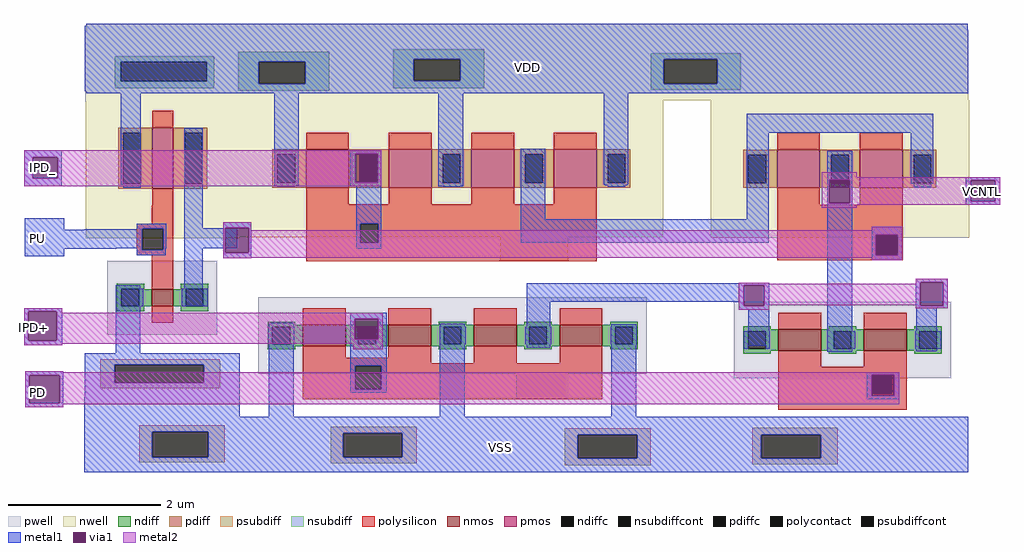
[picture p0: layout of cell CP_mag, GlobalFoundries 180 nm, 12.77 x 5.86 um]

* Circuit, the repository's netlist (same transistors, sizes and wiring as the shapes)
* NGSPICE file created from CP_mag.ext - technology: gf180mcuC

.subckt nmos_3p3_GYTGVN a_n260_n36# a_168_n28# a_56_n72# a_n168_n72# a_n56_n28# VSUBS
X0 a_n56_n28# a_n168_n72# a_n260_n36# VSUBS nfet_03v3 ad=92.8f pd=0.92u as=0.158p ps=1.64u w=0.28u l=0.56u
X1 a_168_n28# a_56_n72# a_n56_n28# VSUBS nfet_03v3 ad=0.158p pd=1.64u as=92.8f ps=0.92u w=0.28u l=0.56u
.ends

.subckt pmos_3p3_HVHFD7 a_n52_n50# w_n338_n180# a_52_n94# a_164_n50# a_n252_n50# a_n164_n94#
X0 a_164_n50# a_52_n94# a_n52_n50# w_n338_n180# pfet_03v3 ad=0.22p pd=1.88u as=0.13p ps=1.02u w=0.5u l=0.56u
X1 a_n52_n50# a_n164_n94# a_n252_n50# w_n338_n180# pfet_03v3 ad=0.13p pd=1.02u as=0.22p ps=1.88u w=0.5u l=0.56u
.ends

.subckt pmos_3p3_MQGBLR a_n28_n124# a_n116_n80# a_28_n80# w_n202_n210#
X0 a_28_n80# a_n28_n124# a_n116_n80# w_n202_n210# pfet_03v3 ad=0.352p pd=2.48u as=0.352p ps=2.48u w=0.8u l=0.28u
.ends

.subckt nmos_3p3_DDNVWA a_n120_n36# a_28_n22# a_n28_n66# VSUBS
X0 a_28_n22# a_n28_n66# a_n120_n36# VSUBS nfet_03v3 ad=0.152p pd=1.64u as=0.152p ps=1.64u w=0.22u l=0.28u
.ends

.subckt inv VDD VSS IN OUT
Xpmos_3p3_MQGBLR_0 IN VDD OUT VDD pmos_3p3_MQGBLR
Xnmos_3p3_DDNVWA_0 VSS OUT IN VSS nmos_3p3_DDNVWA
.ends

.subckt CP_mag VDD VSS VCNTL PU PD IPD_ IPD+
Xnmos_3p3_GYTGVN_0 m1_1391_990# m1_1391_990# PD PD VCNTL VSS nmos_3p3_GYTGVN
Xnmos_3p3_GYTGVN_1 VSS VSS IPD+ IPD+ IPD+ VSS nmos_3p3_GYTGVN
Xnmos_3p3_GYTGVN_2 VSS VSS IPD+ IPD+ m1_1391_990# VSS nmos_3p3_GYTGVN
Xpmos_3p3_HVHFD7_0 m1_1376_1265# VDD IPD_ VDD VDD IPD_ pmos_3p3_HVHFD7
Xpmos_3p3_HVHFD7_1 VCNTL VDD inv_0/OUT m1_1376_1265# m1_1376_1265# inv_0/OUT pmos_3p3_HVHFD7
Xpmos_3p3_HVHFD7_2 IPD_ VDD IPD_ VDD VDD IPD_ pmos_3p3_HVHFD7
Xinv_0 VDD VSS PU inv_0/OUT inv
.ends

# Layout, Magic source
magic
tech gf180mcuC
magscale 1 10
<< nwell >>
rect 239 1820 2544 1837
rect 239 1638 2546 1820
rect 2180 1637 2546 1638
rect 1966 1559 1983 1602
rect 1322 1217 1499 1366
<< pwell >>
rect 1364 856 1497 950
<< psubdiff >>
rect 377 771 601 787
rect 377 704 412 771
rect 558 704 601 771
rect 377 691 601 704
rect 879 766 1103 784
rect 879 704 911 766
rect 1066 704 1103 766
rect 879 688 1103 704
rect 1491 763 1715 779
rect 1491 701 1525 763
rect 1680 701 1715 763
rect 1491 683 1715 701
rect 1981 763 2205 781
rect 1981 701 2005 763
rect 2160 701 2205 763
rect 1981 685 2205 701
<< nsubdiff >>
rect 637 1738 875 1764
rect 637 1681 690 1738
rect 812 1681 875 1738
rect 637 1662 875 1681
rect 1042 1745 1280 1771
rect 1718 1759 1950 1760
rect 1042 1688 1095 1745
rect 1217 1688 1280 1745
rect 1042 1669 1280 1688
rect 1716 1745 1951 1759
rect 1716 1680 1749 1745
rect 1890 1680 1951 1745
rect 1716 1665 1951 1680
<< psubdiffcont >>
rect 412 704 558 771
rect 911 704 1066 766
rect 1525 701 1680 763
rect 2005 701 2160 763
<< nsubdiffcont >>
rect 690 1681 812 1738
rect 1095 1688 1217 1745
rect 1749 1680 1890 1745
<< polysilicon >>
rect 1030 1365 1574 1366
rect 814 1314 1574 1365
rect 814 1265 955 1314
rect 1002 1265 1574 1314
rect 814 1216 1574 1265
rect 2046 1283 2374 1364
rect 2046 1237 2307 1283
rect 2359 1237 2374 1283
rect 2046 1219 2374 1237
rect 898 951 1048 964
rect 805 950 1141 951
rect 805 943 1589 950
rect 805 882 942 943
rect 1011 882 1589 943
rect 805 856 1589 882
rect 2049 917 2385 941
rect 2049 871 2299 917
rect 2346 871 2385 917
rect 2049 828 2385 871
<< polycontact >>
rect 955 1265 1002 1314
rect 2307 1237 2359 1283
rect 942 882 1011 943
rect 2299 871 2346 917
<< metal1 >>
rect 239 1820 2544 1837
rect 239 1745 2546 1820
rect 239 1738 1095 1745
rect 239 1681 690 1738
rect 812 1688 1095 1738
rect 1217 1688 1749 1745
rect 812 1681 1749 1688
rect 239 1680 1749 1681
rect 1890 1680 2546 1745
rect 239 1656 2546 1680
rect 76 1488 175 1507
rect 76 1433 99 1488
rect 164 1433 175 1488
rect 76 1413 175 1433
rect 730 1414 795 1656
rect 929 1497 1010 1507
rect 929 1423 942 1497
rect 1001 1423 1010 1497
rect 929 1413 1010 1423
rect 1160 1413 1225 1656
rect 78 1299 181 1329
rect 597 1304 671 1319
rect 78 1249 317 1299
rect 78 1229 181 1249
rect 597 1238 603 1304
rect 664 1238 671 1304
rect 945 1314 1010 1413
rect 945 1265 955 1314
rect 1002 1265 1010 1314
rect 1376 1326 1440 1511
rect 1592 1416 1657 1656
rect 1966 1553 2454 1602
rect 1595 1415 1654 1416
rect 1966 1413 2024 1553
rect 1967 1326 2024 1413
rect 1376 1265 2024 1326
rect 2177 1429 2242 1506
rect 2177 1368 2183 1429
rect 2236 1368 2242 1429
rect 2396 1419 2454 1553
rect 2540 1428 2629 1436
rect 945 1249 1010 1265
rect 597 1224 671 1238
rect 1946 1159 2025 1160
rect 1391 1153 2025 1159
rect 1391 1110 1959 1153
rect 77 1085 176 1094
rect 77 1008 87 1085
rect 162 1008 176 1085
rect 929 1066 1025 1082
rect 77 997 176 1008
rect 79 918 179 929
rect 79 845 90 918
rect 169 845 179 918
rect 79 834 179 845
rect 234 809 640 862
rect 716 809 781 1055
rect 929 1012 941 1066
rect 1003 1012 1025 1066
rect 929 943 1025 1012
rect 929 882 942 943
rect 1011 882 1025 943
rect 929 873 1025 882
rect 1164 809 1229 1053
rect 1391 990 1453 1110
rect 1946 1100 1959 1110
rect 2012 1100 2025 1153
rect 1946 1089 2025 1100
rect 1612 809 1677 1052
rect 1971 995 2025 1089
rect 2177 980 2242 1368
rect 2540 1373 2552 1428
rect 2617 1373 2629 1428
rect 2540 1364 2629 1373
rect 2294 1305 2373 1306
rect 2293 1286 2373 1305
rect 2293 1232 2304 1286
rect 2362 1232 2373 1286
rect 2293 1220 2373 1232
rect 2294 1219 2373 1220
rect 2408 1161 2492 1170
rect 2408 1100 2420 1161
rect 2480 1100 2492 1161
rect 2408 1093 2492 1100
rect 2410 1038 2464 1093
rect 2410 983 2465 1038
rect 2410 981 2464 983
rect 2281 919 2366 926
rect 2281 864 2293 919
rect 2353 864 2366 919
rect 2281 855 2366 864
rect 234 771 2546 809
rect 234 704 412 771
rect 558 766 2546 771
rect 558 704 911 766
rect 1066 763 2546 766
rect 1066 704 1525 763
rect 234 701 1525 704
rect 1680 701 2005 763
rect 2160 701 2546 763
rect 234 665 2546 701
<< via1 >>
rect 99 1433 164 1488
rect 942 1423 1001 1497
rect 603 1238 664 1304
rect 2183 1368 2236 1429
rect 87 1008 162 1085
rect 90 845 169 918
rect 941 1012 1003 1066
rect 1959 1100 2012 1153
rect 2552 1373 2617 1428
rect 2304 1283 2362 1286
rect 2304 1237 2307 1283
rect 2307 1237 2359 1283
rect 2359 1237 2362 1283
rect 2304 1232 2362 1237
rect 2420 1100 2480 1161
rect 2293 917 2353 919
rect 2293 871 2299 917
rect 2299 871 2346 917
rect 2346 871 2353 917
rect 2293 864 2353 871
<< metal2 >>
rect 76 1497 1010 1507
rect 76 1488 942 1497
rect 76 1433 99 1488
rect 164 1433 942 1488
rect 76 1423 942 1433
rect 1001 1423 1010 1497
rect 76 1413 1010 1423
rect 2163 1436 2254 1449
rect 2163 1429 2629 1436
rect 2163 1368 2183 1429
rect 2236 1428 2629 1429
rect 2236 1373 2552 1428
rect 2617 1373 2629 1428
rect 2236 1368 2629 1373
rect 2163 1364 2629 1368
rect 2163 1356 2254 1364
rect 597 1304 671 1319
rect 597 1238 603 1304
rect 664 1298 671 1304
rect 2294 1298 2373 1306
rect 664 1286 2373 1298
rect 664 1238 2304 1286
rect 597 1232 2304 1238
rect 2362 1232 2373 1286
rect 597 1226 2373 1232
rect 597 1224 671 1226
rect 2294 1219 2373 1226
rect 2408 1161 2492 1170
rect 1946 1157 2025 1160
rect 2408 1157 2420 1161
rect 1946 1153 2420 1157
rect 1946 1100 1959 1153
rect 2012 1101 2420 1153
rect 2012 1100 2025 1101
rect 77 1085 176 1094
rect 1946 1089 2025 1100
rect 2408 1100 2420 1101
rect 2480 1100 2492 1161
rect 2408 1093 2492 1100
rect 77 1008 87 1085
rect 162 1081 176 1085
rect 162 1066 1014 1081
rect 162 1012 941 1066
rect 1003 1012 1014 1066
rect 162 1008 1014 1012
rect 77 1001 1014 1008
rect 77 997 176 1001
rect 937 986 1014 1001
rect 79 926 179 929
rect 79 919 2366 926
rect 79 918 2293 919
rect 79 845 90 918
rect 169 864 2293 918
rect 2353 864 2366 919
rect 169 845 2366 864
rect 79 842 2366 845
rect 79 834 179 842
use inv  inv_0
transform 1 0 296 0 1 804
box -61 58 345 1028
use nmos_3p3_GYTGVN  nmos_3p3_GYTGVN_0
transform 1 0 2217 0 1 1010
box -284 -100 284 100
use nmos_3p3_GYTGVN  nmos_3p3_GYTGVN_1
transform 1 0 973 0 1 1022
box -284 -100 284 100
use nmos_3p3_GYTGVN  nmos_3p3_GYTGVN_2
transform 1 0 1421 0 1 1022
box -284 -100 284 100
use pmos_3p3_HVHFD7  pmos_3p3_HVHFD7_0
transform -1 0 1410 0 1 1459
box -338 -180 338 180
use pmos_3p3_HVHFD7  pmos_3p3_HVHFD7_1
transform 1 0 2210 0 1 1458
box -338 -180 338 180
use pmos_3p3_HVHFD7  pmos_3p3_HVHFD7_2
transform 1 0 978 0 1 1459
box -338 -180 338 180
<< labels >>
flabel metal1 1393 1724 1393 1724 0 FreeSans 480 0 0 0 VDD
port 0 nsew
flabel metal1 1323 728 1323 728 0 FreeSans 480 0 0 0 VSS
port 1 nsew
flabel via1 2582 1398 2582 1398 0 FreeSans 480 0 0 0 VCNTL
port 2 nsew
flabel metal1 112 1276 112 1276 0 FreeSans 480 0 0 0 PU
port 3 nsew
flabel via1 112 874 112 874 0 FreeSans 480 0 0 0 PD
port 4 nsew
flabel via1 124 1462 124 1462 0 FreeSans 480 0 0 0 IPD_
port 5 nsew
flabel via1 100 1043 100 1043 0 FreeSans 480 0 0 0 IPD+
port 6 nsew
<< end >>

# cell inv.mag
magic
tech gf180mcuC
magscale 1 10
<< nwell >>
rect -60 831 344 1012
rect 114 556 171 558
<< psubdiff >>
rect -20 151 292 156
rect -20 141 293 151
rect -20 94 17 141
rect 250 94 293 141
rect -20 84 293 94
rect -20 80 292 84
<< nsubdiff >>
rect 19 946 276 948
rect 18 934 277 946
rect 18 883 33 934
rect 258 883 277 934
rect 18 871 277 883
rect 19 865 276 871
<< psubdiffcont >>
rect 17 94 250 141
<< nsubdiffcont >>
rect 33 883 258 934
<< polysilicon >>
rect 114 556 171 558
rect 114 511 170 556
rect 75 498 170 511
rect 75 442 89 498
rect 144 442 170 498
rect 75 428 170 442
rect 114 383 170 428
<< polycontact >>
rect 89 442 144 498
<< metal1 >>
rect -61 934 344 1028
rect -61 883 33 934
rect 258 883 344 934
rect -61 857 344 883
rect 33 612 85 857
rect 75 498 152 511
rect 75 496 89 498
rect -61 446 89 496
rect 75 442 89 446
rect 144 446 152 498
rect 199 499 248 760
rect 199 446 338 499
rect 144 442 151 446
rect 75 428 151 442
rect 20 172 84 349
rect 199 294 248 446
rect -61 141 344 172
rect -61 94 17 141
rect 250 94 344 141
rect -61 58 344 94
use nmos_3p3_DDNVWA  nmos_3p3_DDNVWA_0
transform 1 0 142 0 1 317
box -144 -97 144 97
use pmos_3p3_MQGBLR  pmos_3p3_MQGBLR_0
transform 1 0 143 0 1 682
box -202 -210 202 210
<< labels >>
flabel nsubdiffcont 145 909 145 909 0 FreeSans 480 0 0 0 VDD
port 5 nsew
flabel psubdiffcont 134 118 134 118 0 FreeSans 480 0 0 0 VSS
port 6 nsew
flabel metal1 -37 469 -37 469 0 FreeSans 320 0 0 0 IN
port 8 nsew
flabel metal1 307 471 307 471 0 FreeSans 320 0 0 0 OUT
port 9 nsew
<< end >>

# cell nmos_3p3_GYTGVN: kit device nmos_3p3, w 0.28 l 0.56 m 1 nf 2 diffcov 100 polycov 100 guard 0 glc 0 grc 0 gtc 0 gbc 0 tbcov 100 rlcov 100 topc 0 botc 0 poverlap 0 doverlap 1 lmin 0.28 wmin 0.22 full_metal 0 compatible {nmos_3p3 nmos_6p0 nmos_6p0_nat}

# cell pmos_3p3_HVHFD7: kit device pmos_3p3, w 0.5 l 0.56 m 1 nf 2 diffcov 100 polycov 100 guard 0 glc 0 grc 0 gtc 0 gbc 0 tbcov 100 rlcov 100 topc 0 botc 0 poverlap 0 doverlap 1 lmin 0.28 wmin 0.22 full_metal 0 compatible {pmos_3p3 pmos_6p0}

# cell nmos_3p3_DDNVWA: kit device nmos_3p3, w 0.220 l 0.280 m 1 nf 1 diffcov 100 polycov 100 guard 0 glc 0 grc 0 gtc 0 gbc 0 tbcov 100 rlcov 100 topc 0 botc 0 poverlap 0 doverlap 1 lmin 0.28 wmin 0.22 full_metal 0 compatible {nmos_3p3 nmos_6p0 nmos_6p0_nat}

# cell pmos_3p3_MQGBLR: kit device pmos_3p3, w 0.8 l 0.280 m 1 nf 1 diffcov 100 polycov 100 guard 0 glc 0 grc 0 gtc 0 gbc 0 tbcov 100 rlcov 100 topc 0 botc 0 poverlap 0 doverlap 1 lmin 0.28 wmin 0.22 full_metal 0 compatible {pmos_3p3 pmos_6p0}
